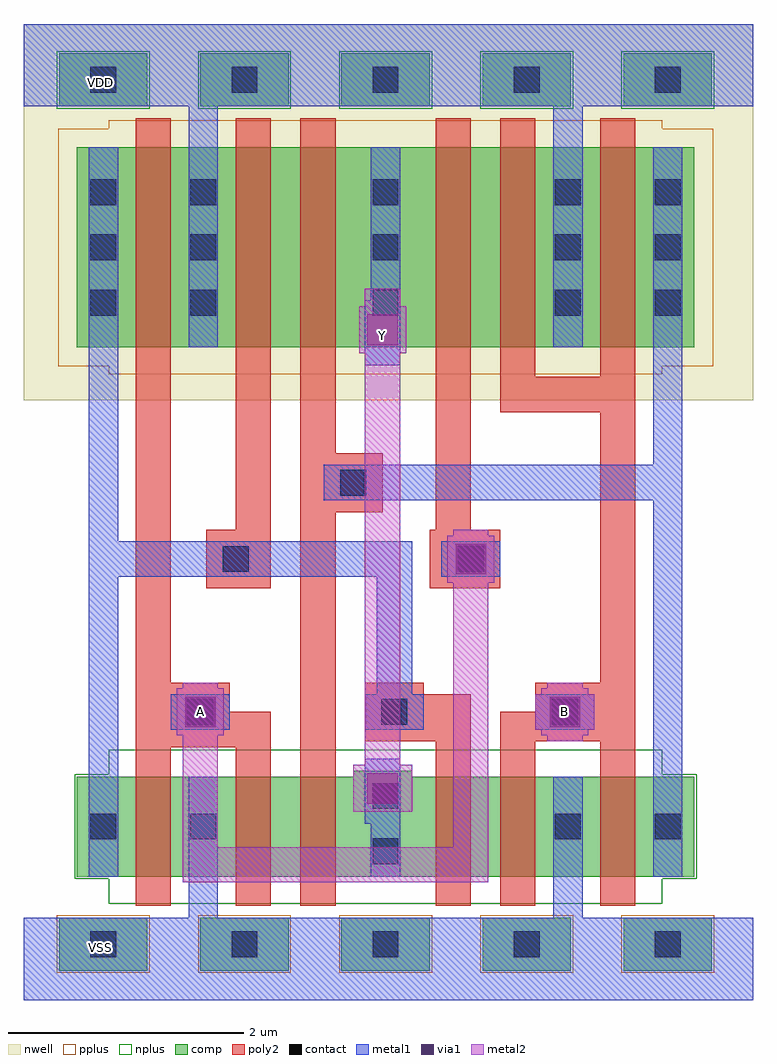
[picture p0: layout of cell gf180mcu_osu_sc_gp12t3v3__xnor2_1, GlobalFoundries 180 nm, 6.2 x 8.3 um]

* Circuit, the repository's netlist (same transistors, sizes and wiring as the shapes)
* Copyright 2022 Google LLC
*
* Licensed under the Apache License, Version 2.0 (the "License");
* you may not use this file except in compliance with the License.
* You may obtain a copy of the License at
*
*      http://www.apache.org/licenses/LICENSE-2.0
*
* Unless required by applicable law or agreed to in writing, software
* distributed under the License is distributed on an "AS IS" BASIS,
* WITHOUT WARRANTIES OR CONDITIONS OF ANY KIND, either express or implied.
* See the License for the specific language governing permissions and
* limitations under the License.

.option scale=0.05u

.subckt gf180mcu_osu_sc_gp12t3v3__xnor2_1 A Y B
X0 Y a_47_14 a_42_19 VSS nmos_3p3 w=17 l=6
X1 VDD B a_76_109 VDD pmos_3p3 w=34 l=6
X2 a_47_14 B VDD VDD pmos_3p3 w=34 l=6
X3 Y a_47_14 a_42_109 VDD pmos_3p3 w=34 l=6
X4 a_76_109 A Y VDD pmos_3p3 w=34 l=6
X5 a_42_109 a_9_19 VDD VDD pmos_3p3 w=34 l=6
X6 VDD A a_9_19 VDD pmos_3p3 w=34 l=6
X7 VSS A a_9_19 VSS nmos_3p3 w=17 l=6
X8 a_76_19 a_9_19 Y VSS nmos_3p3 w=17 l=6
X9 a_42_19 A VSS VSS nmos_3p3 w=17 l=6
X10 a_47_14 B VSS VSS nmos_3p3 w=17 l=6
X11 VSS B a_76_19 VSS nmos_3p3 w=17 l=6
.ends

** hspice subcircuit dictionary

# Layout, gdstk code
import gdstk
lib = gdstk.Library(unit=1e-6, precision=1e-09)
def R(c, l, rs):  # rectangles x0, y0, x1, y1
    for r in rs: c.add(gdstk.rectangle(r[:2], r[2:], *l))
def A(c, l, x, y, w, h, nx, ny, dx, dy):  # array of equal rectangles
    R(c, l, [(x+i*dx, y+j*dy, x+i*dx+w, y+j*dy+h) for i in range(nx) for j in range(ny)])
nwell = (21, 0)
comp = (22, 0)
poly2 = (30, 0)
pplus = (31, 0)
nplus = (32, 0)
contact = (33, 0)
metal1 = (34, 0)
via1 = (35, 0)
metal2 = (36, 0)

gf180mcu_osu_sc_gp12t3v3 = lib.new_cell('gf180mcu_osu_sc_gp12t3v3__xnor2_1')
R(gf180mcu_osu_sc_gp12t3v3, nwell, [(0,5.1,6.2,8.3)])
A(gf180mcu_osu_sc_gp12t3v3, comp, 0.3, 0.25, 0.75, 0.45, 5, 2, 1.2, 7.35)
R(gf180mcu_osu_sc_gp12t3v3, comp, [(0.45,1.05,5.7,1.9), (2.8,1.9,3.3,1.95), (0.45,5.55,5.7,7.25)])
R(gf180mcu_osu_sc_gp12t3v3, poly2, [(0.95,0.8,1.25,2.15), (1.8,0.8,2.1,2.15), (2.35,0.8,2.65,4.15), (3.5,0.8,3.8,2.2), (4.05,0.8,4.35,2.2), (4.9,0.8,5.2,2.2), (0.95,2.15,2.1,2.45), (2.9,2.2,3.8,2.6), (4.05,2.2,5.2,2.45), (0.95,2.45,1.75,2.7), (4.35,2.45,5.2,2.7), (2.9,2.6,3.4,2.7), (0.95,2.7,1.25,7.5), (4.9,2.7,5.2,5), (1.55,3.5,2.1,4), (3.45,3.5,4.05,4), (1.8,4,2.1,7.5), (3.5,4,3.8,7.5), (2.35,4.15,3.05,4.65), (2.35,4.65,2.65,7.5), (4.05,5,5.2,5.3), (4.05,5.3,4.35,7.5), (4.9,5.3,5.2,7.5)])
A(gf180mcu_osu_sc_gp12t3v3, pplus, 0.28, 0.23, 0.79, 0.49, 5, 1, 1.2, 0)
R(gf180mcu_osu_sc_gp12t3v3, pplus, [(0.72,5.32,5.43,5.39), (0.29,5.39,5.86,7.41), (0.72,7.41,5.43,7.48)])
A(gf180mcu_osu_sc_gp12t3v3, nplus, 0.28, 7.58, 0.79, 0.49, 5, 1, 1.2, 0)
R(gf180mcu_osu_sc_gp12t3v3, nplus, [(0.72,0.82,5.43,1.03), (0.43,1.03,5.72,1.92), (0.72,1.92,5.43,2.13)])
A(gf180mcu_osu_sc_gp12t3v3, contact, 0.565, 0.365, 0.22, 0.22, 5, 2, 1.2, 7.35)
A(gf180mcu_osu_sc_gp12t3v3, contact, 0.565, 5.82, 0.22, 0.22, 1, 3, 0, 0.47)
A(gf180mcu_osu_sc_gp12t3v3, contact, 1.415, 5.82, 0.22, 0.22, 3, 3, 1.55, 0.47)
A(gf180mcu_osu_sc_gp12t3v3, contact, 5.365, 5.82, 0.22, 0.22, 1, 3, 0, 0.47)
R(gf180mcu_osu_sc_gp12t3v3, contact, [(2.965,1.155,3.185,1.375), (0.565,1.365,0.785,1.585), (1.415,1.365,1.635,1.585), (4.515,1.365,4.735,1.585), (5.365,1.365,5.585,1.585), (2.965,1.625,3.185,1.845), (1.39,2.34,1.61,2.56), (3.04,2.34,3.26,2.56), (4.49,2.34,4.71,2.56), (1.69,3.64,1.91,3.86), (3.69,3.64,3.91,3.86), (2.69,4.29,2.91,4.51)])
R(gf180mcu_osu_sc_gp12t3v3, metal1, [(0,0,6.2,0.7), (1.4,0.7,1.65,1.9), (4.5,0.7,4.75,1.9), (0.55,1.05,0.8,3.6), (2.95,1.05,3.2,1.5), (5.35,1.05,5.6,4.25), (2.9,1.5,3.2,2.05), (1.25,2.3,1.75,2.6), (2.9,2.3,3.4,2.6), (4.35,2.3,4.85,2.6), (3,2.6,3.3,3.6), (0.55,3.6,3.3,3.9), (3.55,3.6,4.05,3.9), (0.55,3.9,0.8,7.25), (2.55,4.25,5.6,4.55), (5.35,4.55,5.6,7.25), (2.9,5.4,3.2,5.95), (1.4,5.55,1.65,7.6), (4.5,5.55,4.75,7.6), (2.95,5.95,3.2,7.25), (0,7.6,6.2,8.3)])
R(gf180mcu_osu_sc_gp12t3v3, via1, [(2.92,1.67,3.18,1.93), (1.37,2.32,1.63,2.58), (4.47,2.32,4.73,2.58), (3.67,3.62,3.93,3.88), (2.92,5.57,3.18,5.83)])
R(gf180mcu_osu_sc_gp12t3v3, metal2, [(1.35,1,3.95,1.3), (1.35,1.3,1.65,2.25), (3.65,1.3,3.95,3.55), (2.8,1.6,3.3,2), (2.9,2,3.2,5.5), (4.45,2.2,4.75,2.25), (1.3,2.25,1.7,2.65), (4.4,2.25,4.8,2.3), (4.35,2.3,4.85,2.6), (4.4,2.6,4.8,2.65), (1.35,2.65,1.65,2.7), (4.45,2.65,4.75,2.7), (3.6,3.55,4,3.95), (3.65,3.95,3.95,4), (2.85,5.5,3.25,5.9), (2.9,5.9,3.2,6.05)])
gf180mcu_osu_sc_gp12t3v3.add(gdstk.Label('A', (1.5,2.45), layer=36, texttype=10))
gf180mcu_osu_sc_gp12t3v3.add(gdstk.Label('B', (4.6,2.45), layer=36, texttype=10))
gf180mcu_osu_sc_gp12t3v3.add(gdstk.Label('Y', (3.05,5.65), layer=36, texttype=10))
gf180mcu_osu_sc_gp12t3v3.add(gdstk.Label('VDD', (0.65,7.8), layer=34, texttype=10))
gf180mcu_osu_sc_gp12t3v3.add(gdstk.Label('VSS', (0.65,0.45), layer=34, texttype=10))

lib.write_gds('gf180mcu_osu_sc_gp12t3v3__xnor2_1.gds')
